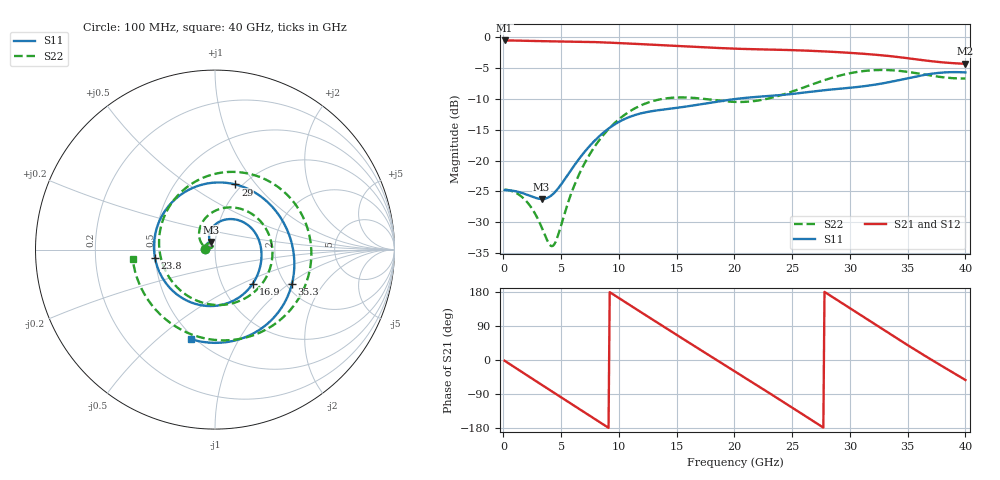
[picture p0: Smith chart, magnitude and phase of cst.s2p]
! D_s8_cap_none: L1 (ref L2 GND) → L3 (ref L4 PWR), no capacitor
! stackup: 8-layer 1.6 mm FR-4 (generic)
! ports: 1, 2
! CST Studio Suite 2025.5 Release from 2025-05-30, time domain (FIT, hexahedral, PBA), 183744 mesh cells, 37 s
! mesh: {'lpw': 20, 'lpb': 20, 'minstep': 0.0, 'ratio': 20}; ports: port 1 (face); port 2 (face)
! interpolated from CST's 1001 samples to the case grid
# Hz S RI R 50
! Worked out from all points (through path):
!   400 points, 100 MHz to 40 GHz, reference 50 ohm
!   highest |S21| = -0.56 dB at 100 MHz (marker M1); lowest = -4.3 dB at 40 GHz (marker M2)
!   group delay of S21, straight-line fit = 53.8 ps
!   lowest |S11| = -26.2 dB at 3.3 GHz (marker M3), VSWR 1.10, Z = 47.5 + j4.07 ohm
!   |S11| at or under -10 dB: start of sweep to 20.25 GHz
!   |S22| runs from -33.9 to -5.3 dB; largest |S21 - S12| = 0.0011
!   S11 on the Smith chart (normalised r, x): 100 MHz: 0.89, +0.00; 16.9 GHz: 1.39, -0.58; 23.8 GHz: 0.50, -0.05; 29 GHz: 0.93, +0.79; 35.3 GHz: 2.14, -1.06; 40 GHz: 0.48, -0.65
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1e8  -0.0576 0.0027  0.9372 -0.0326  0.9372 -0.0326  -0.058 0.00263
1.6e9  -0.042 0.0349  0.7937 -0.4918  0.7937 -0.4918  -0.0389 0.0325
3.3e9  -0.0237 0.0427  0.3888 -0.8398  0.3888 -0.8398  -0.0125 0.0261
4.4e9  -0.0266 0.0478  0.0544 -0.9201  0.0543 -0.92  -0.0177 0.0111
6.8e9  -0.024 0.108  -0.6326 -0.6616  -0.6326 -0.6617  -0.0772 0.0389
8.3e9  0.0246 0.1553  -0.8686 -0.2605  -0.8688 -0.2605  -0.0843 0.1195
9.8e9  0.1081 0.1688  -0.8727 0.1975  -0.8726 0.1976  -0.0156 0.2074
1.17e10  0.2108 0.1108  -0.5664 0.6704  -0.5665 0.6702  0.1615 0.2212
1.34e10  0.2548 0.0162  -0.1081 0.8552  -0.1082 0.8553  0.2963 0.0928
1.5e10  0.2551 -0.0785  0.3405 0.7756  0.3407 0.7755  0.3094 -0.0959
1.69e10  0.2103 -0.1901  0.7203 0.4117  0.7201 0.4116  0.1639 -0.2735
1.85e10  0.123 -0.2733  0.8157 -0.0125  0.8159 -0.0124  -0.0263 -0.3053
2.01e10  -0.0175 -0.3145  0.6867 -0.4187  0.6867 -0.4189  -0.1948 -0.2256
2.2e10  -0.2159 -0.2467  0.3026 -0.7354  0.3025 -0.7352  -0.3027 -0.0413
2.38e10  -0.3339 -0.0489  -0.1686 -0.7704  -0.1683 -0.7705  -0.291 0.1626
2.67e10  -0.1836 0.3109  -0.7203 -0.2794  -0.7202 -0.2791  -0.0409 0.4102
2.9e10  0.1136 0.3631  -0.6902 0.3038  -0.6903 0.3034  0.2924 0.3854
3.13e10  0.3332 0.222  -0.2643 0.6804  -0.2641 0.6809  0.5255 0.0801
3.34e10  0.4304 0.0233  0.2378 0.6597  0.2376 0.6592  0.4507 -0.2961
3.53e10  0.4279 -0.1938  0.5566 0.369  0.5566 0.3697  0.153 -0.4943
3.75e10  0.258 -0.4399  0.6249 -0.0809  0.6248 -0.0818  -0.2376 -0.4165
4e10  -0.136 -0.4984  0.3677 -0.483  0.3684 -0.4821  -0.4588 -0.052
